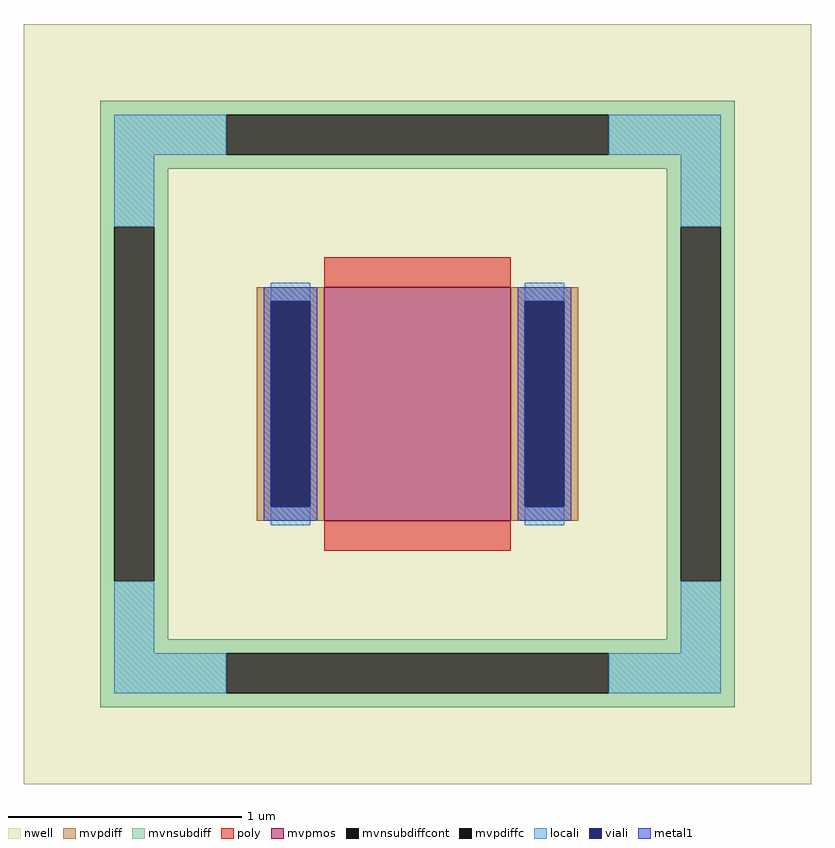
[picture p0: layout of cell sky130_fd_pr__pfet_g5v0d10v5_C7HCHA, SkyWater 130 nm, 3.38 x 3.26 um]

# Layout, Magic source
magic
tech sky130A
<< nwell >>
rect -169 -163 169 163
<< mvpmos >>
rect -40 -50 40 50
<< mvpdiff >>
rect -69 44 -40 50
rect -69 -44 -63 44
rect -46 -44 -40 44
rect -69 -50 -40 -44
rect 40 44 69 50
rect 40 -44 46 44
rect 63 -44 69 44
rect 40 -50 69 -44
<< mvpdiffc >>
rect -63 -44 -46 44
rect 46 -44 63 44
<< mvnsubdiff >>
rect -136 124 136 130
rect -136 107 -82 124
rect 82 107 136 124
rect -136 101 136 107
rect -136 76 -107 101
rect -136 -76 -130 76
rect -113 -76 -107 76
rect 107 76 136 101
rect -136 -101 -107 -76
rect 107 -76 113 76
rect 130 -76 136 76
rect 107 -101 136 -76
rect -136 -107 136 -101
rect -136 -124 -82 -107
rect 82 -124 136 -107
rect -136 -130 136 -124
<< mvnsubdiffcont >>
rect -82 107 82 124
rect -130 -76 -113 76
rect 113 -76 130 76
rect -82 -124 82 -107
<< poly >>
rect -40 50 40 63
rect -40 -63 40 -50
<< locali >>
rect -130 107 -82 124
rect 82 107 130 124
rect -130 76 -113 107
rect 113 76 130 107
rect -63 44 -46 52
rect -63 -52 -46 -44
rect 46 44 63 52
rect 46 -52 63 -44
rect -130 -107 -113 -76
rect 113 -107 130 -76
rect -130 -124 -82 -107
rect 82 -124 130 -107
<< viali >>
rect -63 -44 -46 44
rect 46 -44 63 44
<< metal1 >>
rect -66 44 -43 50
rect -66 -44 -63 44
rect -46 -44 -43 44
rect -66 -50 -43 -44
rect 43 44 66 50
rect 43 -44 46 44
rect 63 -44 66 44
rect 43 -50 66 -44
<< properties >>
string FIXED_BBOX -121 -115 121 115
string gencell sky130_fd_pr__pfet_g5v0d10v5
string library sky130
string parameters w 1 l 0.8 m 1 nf 1 diffcov 100 polycov 100 guard 1 glc 1 grc 1 gtc 1 gbc 1 tbcov 100 rlcov 100 topc 0 botc 0 poverlap 0 doverlap 1 lmin 0.50 wmin 0.42 compatible {sky130_fd_pr__pfet_01v8  sky130_fd_pr__pfet_01v8_lvt sky130_fd_pr__pfet_01v8_hvt  sky130_fd_pr__pfet_g5v0d10v5} full_metal 1 viasrc 100 viadrn 100 viagate 50 viagb 0 viagr 0 viagl 0 viagt 0
<< end >>
